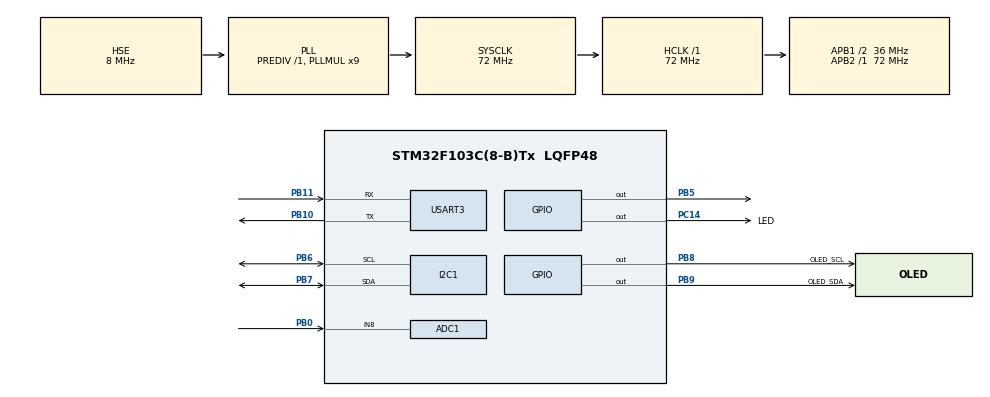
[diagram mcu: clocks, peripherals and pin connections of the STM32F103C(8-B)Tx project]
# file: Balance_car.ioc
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ADC1.Channel-0\#ChannelRegularConversion=ADC_CHANNEL_8
ADC1.NbrOfConversionFlag=1
ADC1.Rank-0\#ChannelRegularConversion=1
ADC1.SamplingTime-0\#ChannelRegularConversion=ADC_SAMPLETIME_1CYCLE_5
ADC1.master=1
I2C1.I2C_Mode=I2C_Fast
Mcu.Family=STM32F1
Mcu.Name=STM32F103C(8-B)Tx
Mcu.Package=LQFP48
NVIC.PriorityGroup=NVIC_PRIORITYGROUP_4
NVIC.USART3_IRQn=true\:0\:0\:false\:false\:true\:true\:true\:true
PA13.Mode=Serial_Wire
PA13.Signal=SYS_JTMS-SWDIO
PA14.Mode=Serial_Wire
PA14.Signal=SYS_JTCK-SWCLK
PB0.Signal=ADCx_IN8
PB10.Mode=Asynchronous
PB10.Signal=USART3_TX
PB11.Mode=Asynchronous
PB11.Signal=USART3_RX
PB5.GPIO_PuPd=GPIO_PULLDOWN
PB5.Signal=GPIO_Output
PB6.Mode=I2C
PB6.Signal=I2C1_SCL
PB7.Mode=I2C
PB7.Signal=I2C1_SDA
PB8.GPIO_Label=OLED_SCL
PB8.GPIO_Speed=GPIO_SPEED_FREQ_HIGH
PB8.Signal=GPIO_Output
PB9.GPIO_Label=OLED_SDA
PB9.GPIO_Speed=GPIO_SPEED_FREQ_HIGH
PB9.Signal=GPIO_Output
PC14-OSC32_IN.GPIO_Label=LED
PC14-OSC32_IN.GPIO_ModeDefaultOutputPP=GPIO_MODE_OUTPUT_PP
PC14-OSC32_IN.GPIO_PuPd=GPIO_PULLUP
PC14-OSC32_IN.PinState=GPIO_PIN_SET
PC14-OSC32_IN.Signal=GPIO_Output
PD0-OSC_IN.Mode=HSE-External-Oscillator
PD0-OSC_IN.Signal=RCC_OSC_IN
PD1-OSC_OUT.Mode=HSE-External-Oscillator
PD1-OSC_OUT.Signal=RCC_OSC_OUT
ProjectManager.HeapSize=0x200
ProjectManager.StackSize=0x400
ProjectManager.TargetToolchain=MDK-ARM V5.32
RCC.ADCPresc=RCC_ADCPCLK2_DIV6
RCC.AHBFreq_Value=72000000
RCC.APB1CLKDivider=RCC_HCLK_DIV2
RCC.APB1Freq_Value=36000000
RCC.APB1TimFreq_Value=72000000
RCC.APB2Freq_Value=72000000
RCC.APB2TimFreq_Value=72000000
RCC.HCLKFreq_Value=72000000
RCC.PLLMUL=RCC_PLL_MUL9
RCC.PLLSourceVirtual=RCC_PLLSOURCE_HSE
RCC.SYSCLKFreq_VALUE=72000000
RCC.SYSCLKSource=RCC_SYSCLKSOURCE_PLLCLK
RCC.USBFreq_Value=72000000
SH.ADCx_IN8.0=ADC1_IN8,IN8
USART3.VirtualMode=VM_ASYNC
board=custom

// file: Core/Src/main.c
/* USER CODE BEGIN Header */
/**
  ******************************************************************************
  * @file           : main.c
  * @brief          : Main program body
  ******************************************************************************
  * @attention
  *
  * Copyright (c) 2023 STMicroelectronics.
  * All rights reserved.
  *
  * This software is licensed under terms that can be found in the LICENSE file
  * in the root directory of this software component.
  * If no LICENSE file comes with this software, it is provided AS-IS.
  *
  ******************************************************************************
  */
/* USER CODE END Header */
#include "main.h"
#include "adc.h"
#include "i2c.h"
#include "usart.h"
#include "gpio.h"

/* USER CODE BEGIN Includes */
#include <stdio.h>
#include <string.h>

#include "oled.h"
#include "badc.h"

#include "mpu6050.h"
#include "inv_mpu.h"
/* USER CODE END Includes */

/* USER CODE BEGIN PM */
char oled_text[16];
/* USER CODE END PM */

/* USER CODE BEGIN PV */
double volt=0.0f;
float pitch, roll, yaw;

uint8_t pData;
/* USER CODE END PV */

void SystemClock_Config(void);

/* USER CODE BEGIN 0 */
int fputc(int ch, FILE *f)
{ //printf重定向
  HAL_UART_Transmit(&huart3, (uint8_t *)&ch, 1, 0xFFFF);
  return (ch);
}
void oled_show(){
	sprintf(oled_text,"   Balance_car"   );
	OLED_ShowString(0,0,(unsigned char *)oled_text,12);

	//OLED_ShowString(0,0,(unsigned char *)"ANGLE:",12);
	OLED_ShowString(0,1,(unsigned char *)"BAT :",12);
	OLED_ShowString(90,1,(unsigned char *)"V",12);
	//OLED_ShowString(0,2,(unsigned char *)"Distance:",12);
	OLED_ShowString(60,2,(unsigned char *)"R: ",12);
	OLED_ShowString(1,2,(unsigned char *)"L: ",12);

	OLED_ShowString(0,4,(unsigned char *)"YAW:",12);
	OLED_ShowString(0,5,(unsigned char *)"PTICH:",12);
}

void oled_proc(){
	OLED_Float(1,48,volt,1);						//显示电压
	OLED_Float(4,56,yaw,1);	//显示yaw
	OLED_Float(5,56,pitch,1);	//显示pitch
}
/* USER CODE END 0 */

int main(void)
{

  /* MCU Configuration--------------------------------------------------------*/

  /* Reset of all peripherals, Initializes the Flash interface and the Systick. */
  HAL_Init();

  /* Configure the system clock */
  SystemClock_Config();

  /* Initialize all configured peripherals */
  MX_GPIO_Init();
  MX_I2C1_Init();
  MX_ADC1_Init();
  MX_USART3_UART_Init();
  /* USER CODE BEGIN 2 */
	HAL_UART_Receive_IT(&huart3, &pData, 1);
	//初始化oled
	SSD1315_Init();
	HAL_Delay(100);
	OLED_Clear();
	oled_show();
	//初始化mpu
	printf("mpu6050 init\r\n");
	uint8_t recv = 0x00;
  HAL_I2C_Mem_Read(&hi2c1, (0x68 << 1), 0x75, I2C_MEMADD_SIZE_8BIT, &recv, 1, 0xfff);
  if (recv == 0x68)
    printf("mpu6050 ID Read: OK at 0x68\r\n");
  else
    printf("Err mpu id:0x%x\r\n", recv);
	while (mpu_dmp_init())
    HAL_Delay(200);

  /* USER CODE END 2 */

  /* Infinite loop */
  /* USER CODE BEGIN WHILE */
  while (1)
  {
		volt=get_volt();
		if (mpu_dmp_get_data(&pitch, &roll, &yaw) == 0) //DMP读取欧拉角
    {
      HAL_GPIO_TogglePin(LED_GPIO_Port, LED_Pin); //led电平翻转
      printf("%f,%f,%f\r\n", pitch, roll, yaw);   //串口打印欧拉角
    }
    /* USER CODE END WHILE */

    /* USER CODE BEGIN 3 */
		oled_proc();
  }
  /* USER CODE END 3 */
}

void SystemClock_Config(void)
{
  RCC_OscInitTypeDef RCC_OscInitStruct = {0};
  RCC_ClkInitTypeDef RCC_ClkInitStruct = {0};
  RCC_PeriphCLKInitTypeDef PeriphClkInit = {0};

  /** Initializes the RCC Oscillators according to the specified parameters
  * in the RCC_OscInitTypeDef structure.
  */
  RCC_OscInitStruct.OscillatorType = RCC_OSCILLATORTYPE_HSE;
  RCC_OscInitStruct.HSEState = RCC_HSE_ON;
  RCC_OscInitStruct.HSEPredivValue = RCC_HSE_PREDIV_DIV1;
  RCC_OscInitStruct.HSIState = RCC_HSI_ON;
  RCC_OscInitStruct.PLL.PLLState = RCC_PLL_ON;
  RCC_OscInitStruct.PLL.PLLSource = RCC_PLLSOURCE_HSE;
  RCC_OscInitStruct.PLL.PLLMUL = RCC_PLL_MUL9;
  if (HAL_RCC_OscConfig(&RCC_OscInitStruct) != HAL_OK)
  {
    Error_Handler();
  }

  /** Initializes the CPU, AHB and APB buses clocks
  */
  RCC_ClkInitStruct.ClockType = RCC_CLOCKTYPE_HCLK|RCC_CLOCKTYPE_SYSCLK
                              |RCC_CLOCKTYPE_PCLK1|RCC_CLOCKTYPE_PCLK2;
  RCC_ClkInitStruct.SYSCLKSource = RCC_SYSCLKSOURCE_PLLCLK;
  RCC_ClkInitStruct.AHBCLKDivider = RCC_SYSCLK_DIV1;
  RCC_ClkInitStruct.APB1CLKDivider = RCC_HCLK_DIV2;
  RCC_ClkInitStruct.APB2CLKDivider = RCC_HCLK_DIV1;

  if (HAL_RCC_ClockConfig(&RCC_ClkInitStruct, FLASH_LATENCY_2) != HAL_OK)
  {
    Error_Handler();
  }
  PeriphClkInit.PeriphClockSelection = RCC_PERIPHCLK_ADC;
  PeriphClkInit.AdcClockSelection = RCC_ADCPCLK2_DIV6;
  if (HAL_RCCEx_PeriphCLKConfig(&PeriphClkInit) != HAL_OK)
  {
    Error_Handler();
  }
}

void Error_Handler(void)
{
  __disable_irq();
  while (1)
  {
  }
}
